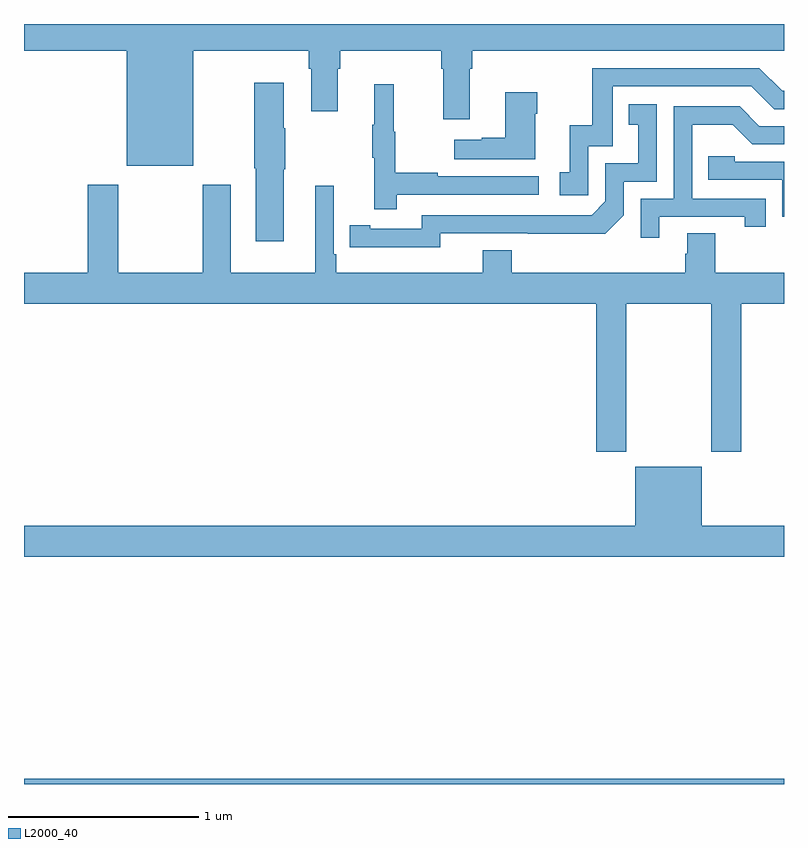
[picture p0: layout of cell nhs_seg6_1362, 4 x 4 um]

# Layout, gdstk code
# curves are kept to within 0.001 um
import gdstk
lib = gdstk.Library(unit=1e-6, precision=1e-09)
def R(c, l, rs):  # rectangles x0, y0, x1, y1
    for r in rs: c.add(gdstk.rectangle(r[:2], r[2:], *l))
def P(c, l, *ps):  # polygons
    for p in ps: c.add(gdstk.Polygon(p, *l))
L2000_40 = (2000, 40)

nhs_seg6_1362 = lib.new_cell('nhs_seg6_1362')
R(nhs_seg6_1362, L2000_40, [(195,919.5,199,919.528)])
P(nhs_seg6_1362, L2000_40, [(195.892,923.36),(196.499,923.36),(196.499,923.264),(196.511,923.264),(196.511,923.04),(196.651,923.04),(196.651,923.264),(196.664,923.264),(196.664,923.36),(197.195,923.36),(197.195,923.264),(197.207,923.264),(197.207,922.998),(197.347,922.998),(197.347,923.264),(197.36,923.264),(197.36,923.36),(199,923.36),(199,923.5),(195,923.5),(195,923.36),(195.542,923.36),(195.542,922.754),(195.892,922.754)],
  [(197.97,922.857),(198.099,922.857),(198.099,923.172),(198.828,923.172),(198.948,923.052),(199,923.052),(199,923.148),(198.99,923.148),(198.87,923.268),(197.991,923.268),(197.991,922.966),(197.873,922.966),(197.873,922.719),(197.82,922.719),(197.82,922.599),(197.97,922.599)],
  [(196.366,922.735),(196.374,922.735),(196.374,922.952),(196.366,922.952),(196.366,923.191),(196.213,923.191),(196.213,922.741),(196.22,922.741),(196.22,922.356),(196.366,922.356)],
  [(196.961,922.602),(197.71,922.602),(197.71,922.698),(197.177,922.698),(197.177,922.718),(196.954,922.718),(196.954,922.932),(196.946,922.932),(196.946,923.182),(196.844,923.182),(196.844,922.969),(196.833,922.969),(196.833,922.795),(196.844,922.795),(196.844,922.524),(196.961,922.524)],
  [(197.692,923.027),(197.7,923.027),(197.7,923.14),(197.534,923.14),(197.534,922.901),(197.408,922.901),(197.408,922.891),(197.265,922.891),(197.265,922.787),(197.692,922.787)],
  [(197.19,922.398),(198.058,922.397),(198.156,922.494),(198.156,922.671),(198.33,922.671),(198.33,923.077),(198.184,923.077),(198.184,922.971),(198.233,922.971),(198.233,922.767),(198.06,922.767),(198.06,922.566),(197.988,922.494),(197.094,922.494),(197.094,922.422),(196.822,922.422),(196.822,922.442),(196.714,922.442),(196.714,922.326),(197.19,922.325)],
  [(198.343,922.485),(198.794,922.485),(198.794,922.434),(198.905,922.434),(198.905,922.581),(198.516,922.581),(198.516,922.97),(198.73,922.97),(198.834,922.866),(199,922.866),(199,922.962),(198.871,922.962),(198.766,923.067),(198.42,923.067),(198.42,922.581),(198.246,922.581),(198.246,922.374),(198.343,922.374)],
  [(199,922.776),(198.741,922.776),(198.741,922.803),(198.601,922.803),(198.601,922.68),(198.99,922.68),(198.99,922.485),(199,922.485)],
  [(195.335,922.654),(195.335,922.192),(195,922.192),(195,922.028),(198.011,922.028),(198.011,921.249),(198.171,921.249),(198.171,922.028),(198.616,922.028),(198.616,921.249),(198.776,921.249),(198.776,922.028),(199,922.028),(199,922.192),(198.639,922.192),(198.639,922.4),(198.491,922.4),(198.491,922.29),(198.479,922.29),(198.479,922.192),(197.567,922.192),(197.567,922.309),(197.414,922.309),(197.414,922.192),(196.643,922.192),(196.643,922.288),(196.629,922.288),(196.629,922.648),(196.532,922.648),(196.532,922.192),(196.087,922.192),(196.087,922.654),(195.94,922.654),(195.94,922.192),(195.495,922.192),(195.495,922.654)],
  [(199,920.86),(198.568,920.86),(198.568,921.169),(198.218,921.169),(198.218,920.86),(195,920.86),(195,920.696),(199,920.696)])

lib.write_gds('nhs_seg6_1362.gds')
